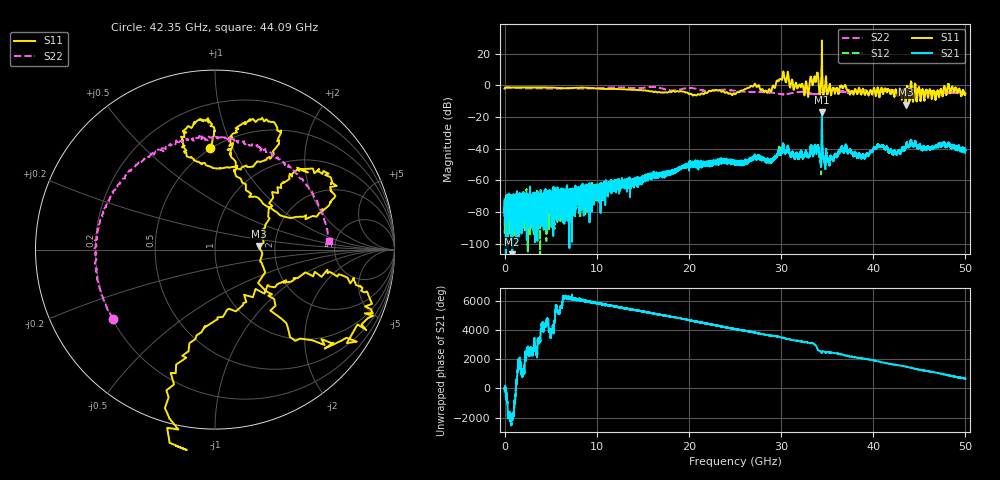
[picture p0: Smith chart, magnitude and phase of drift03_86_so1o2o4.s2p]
!Created with skrf (http://scikit-rf.org).
# Hz S RI R 50.0
!freq ReS11 ImS11 ReS21 ImS21 ReS12 ImS12 ReS22 ImS22
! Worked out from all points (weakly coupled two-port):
!   10000 points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, 5.3 MHz to 50 GHz, reference 50 ohm
!   highest |S21| = -17.10 dB at 34.43 GHz (marker M1); lowest = -111.7 dB at 835.3 MHz (marker M2)
!   lowest |S11| = -12.3 dB at 43.52 GHz (marker M3), VSWR 1.64, Z = 81.9 + j3.47 ohm
!   |S11| at or under -10 dB: 43.4844 GHz to 43.55611 GHz (71.71 MHz wide, 0.165 % of centre); 44.30735 GHz to 44.31921 GHz (11.86 MHz wide, 0.0268 % of centre); 44.32071 GHz to 44.33054 GHz (9.834 MHz wide, 0.0222 % of centre) (the widest 3 of 6)
!   |S22| runs from -5.8 to -1.1 dB; largest |S21 - S12| = 0.034
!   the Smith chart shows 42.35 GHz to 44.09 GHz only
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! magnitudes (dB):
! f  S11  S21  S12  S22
! 5.3 MHz  -2.1  -76.6  -71.6  -1.3
! 835.3 MHz  -1.4  -111.7  -79.4  -1.5
! 4.17 GHz  -1.4  -76.2  -71.9  -2.0
! 8.34 GHz  -1.5  -63.9  -68.2  -2.1
! 16.67 GHz  -4.4  -56.1  -56.1  -1.4
! 20.3 GHz  -5.6  -48.4  -50.4  -1.7
! 25.01 GHz  -5.5  -49.1  -48.2  -3.5
! 27.02 GHz  -0.3  -45.2  -45.7  -4.2
! 28.72 GHz  -2.5  -48.2  -48.2  -4.5
! 30.14 GHz  4.5  -40.8  -41.0  -5.7
! 32.74 GHz  2.0  -42.0  -42.1  -4.5
! 33.34 GHz  2.7  -40.2  -40.4  -5.6
! 33.82 GHz  4.0  -41.6  -42.1  -5.7
! 34.43 GHz  28.3  -17.1  -18.9  -4.5
! 35.29 GHz  0.3  -48.2  -47.5  -3.3
! 36.83 GHz  -0.9  -41.9  -41.8  -4.0
! 38.87 GHz  -2.3  -43.8  -43.5  -3.2
! 40.61 GHz  -5.0  -38.0  -38.5  -4.0
! 41.67 GHz  -2.8  -41.9  -42.1  -3.3
! 43.52 GHz  -12.3  -39.1  -39.3  -4.1
! 48.33 GHz  -4.4  -37.7  -38.0  -4.6
! 50 GHz  -5.3  -40.9  -39.8  -4.5
